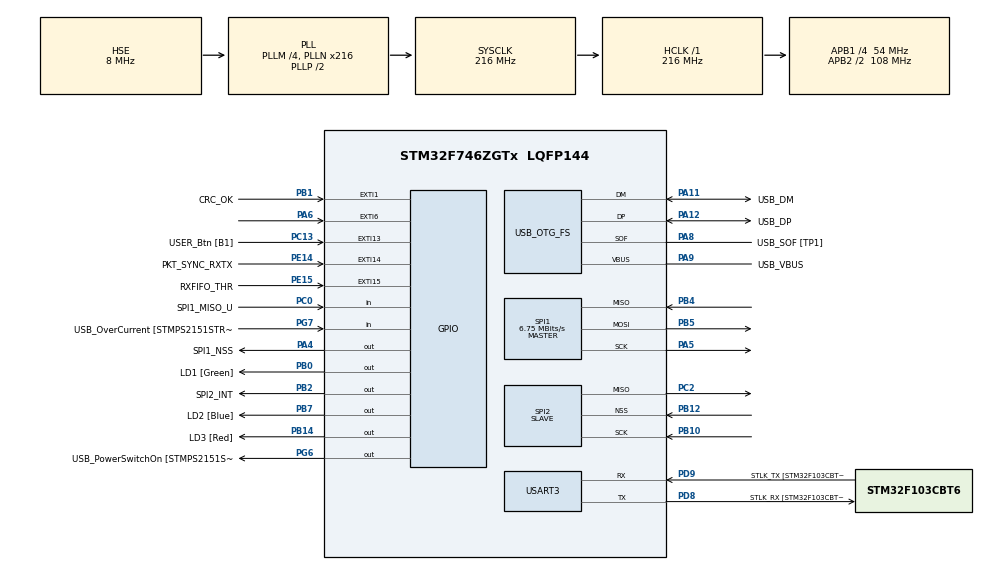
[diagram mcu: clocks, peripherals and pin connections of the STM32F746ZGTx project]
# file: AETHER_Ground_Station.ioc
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CORTEX_M7.default_mode_Activation=1
CRC.DefaultPolynomialUse=DEFAULT_POLYNOMIAL_ENABLE
CRC.InputDataFormat=CRC_INPUTDATA_FORMAT_WORDS
Dma.Request0=SPI1_TX
Dma.Request1=SPI1_RX
Dma.Request2=SPI2_TX
Dma.SPI1_RX.1.Direction=DMA_PERIPH_TO_MEMORY
Dma.SPI1_RX.1.FIFOMode=DMA_FIFOMODE_DISABLE
Dma.SPI1_RX.1.Instance=DMA2_Stream0
Dma.SPI1_RX.1.MemDataAlignment=DMA_MDATAALIGN_BYTE
Dma.SPI1_RX.1.MemInc=DMA_MINC_ENABLE
Dma.SPI1_RX.1.Mode=DMA_NORMAL
Dma.SPI1_RX.1.PeriphDataAlignment=DMA_PDATAALIGN_BYTE
Dma.SPI1_RX.1.PeriphInc=DMA_PINC_DISABLE
Dma.SPI1_RX.1.Priority=DMA_PRIORITY_LOW
Dma.SPI1_TX.0.Direction=DMA_MEMORY_TO_PERIPH
Dma.SPI1_TX.0.FIFOMode=DMA_FIFOMODE_DISABLE
Dma.SPI1_TX.0.Instance=DMA2_Stream3
Dma.SPI1_TX.0.MemDataAlignment=DMA_MDATAALIGN_BYTE
Dma.SPI1_TX.0.MemInc=DMA_MINC_ENABLE
Dma.SPI1_TX.0.Mode=DMA_NORMAL
Dma.SPI1_TX.0.PeriphDataAlignment=DMA_PDATAALIGN_BYTE
Dma.SPI1_TX.0.PeriphInc=DMA_PINC_DISABLE
Dma.SPI1_TX.0.Priority=DMA_PRIORITY_LOW
Dma.SPI2_TX.2.Direction=DMA_MEMORY_TO_PERIPH
Dma.SPI2_TX.2.FIFOMode=DMA_FIFOMODE_DISABLE
Dma.SPI2_TX.2.Instance=DMA1_Stream4
Dma.SPI2_TX.2.MemDataAlignment=DMA_MDATAALIGN_BYTE
Dma.SPI2_TX.2.MemInc=DMA_MINC_ENABLE
Dma.SPI2_TX.2.Mode=DMA_NORMAL
Dma.SPI2_TX.2.PeriphDataAlignment=DMA_PDATAALIGN_BYTE
Dma.SPI2_TX.2.PeriphInc=DMA_PINC_DISABLE
Dma.SPI2_TX.2.Priority=DMA_PRIORITY_LOW
FREERTOS.Queues01=spiReceiveQueue,30,buffer_t*,0,Dynamic,NULL,NULL;crcQueue,30,buffer_t*,0,Dynamic,NULL,NULL;spiTransmitQueue,30,buffer_t*,0,Dynamic,NULL,NULL
FREERTOS.Tasks01=defaultTask,24,256,StartDefaultTask,Default,NULL,Dynamic,NULL,NULL;spiReceiveTask,47,256,SPIReceiveTask,Default,NULL,Dynamic,NULL,NULL;crcTask,25,256,CRCTask,Default,NULL,Dynamic,NULL,NULL;spiTransmitTask,25,256,SPITransmitTask,Default,NULL,Dynamic,NULL,NULL
Mcu.Family=STM32F7
Mcu.Name=STM32F746ZGTx
Mcu.Package=LQFP144
NVIC.DMA1_Stream4_IRQn=true\:5\:0\:false\:false\:true\:true\:false\:true\:true
NVIC.DMA2_Stream0_IRQn=true\:5\:0\:false\:false\:true\:true\:false\:true\:true
NVIC.DMA2_Stream3_IRQn=true\:5\:0\:false\:false\:true\:true\:false\:true\:true
NVIC.EXTI15_10_IRQn=true\:5\:0\:false\:false\:true\:true\:true\:true\:true
NVIC.EXTI1_IRQn=true\:5\:0\:false\:false\:true\:true\:true\:true\:true
NVIC.EXTI9_5_IRQn=true\:5\:0\:false\:false\:true\:true\:true\:true\:true
NVIC.PriorityGroup=NVIC_PRIORITYGROUP_4
NVIC.SPI1_IRQn=true\:5\:0\:false\:false\:true\:true\:true\:true\:true
NVIC.TIM1_UP_TIM10_IRQn=true\:5\:0\:false\:false\:true\:false\:false\:true\:true
NVIC.TimeBase=TIM1_UP_TIM10_IRQn
NVIC.TimeBaseIP=TIM1
PA1.GPIO_Label=RMII_REF_CLK [LAN8742A-CZ-TR_REFCLK0]
PA1.Signal=ETH_REF_CLK
PA10.GPIO_Label=USB_ID
PA10.Signal=USB_OTG_FS_ID
PA11.GPIO_Label=USB_DM
PA11.Mode=Device_Only
PA11.Signal=USB_OTG_FS_DM
PA12.GPIO_Label=USB_DP
PA12.Mode=Device_Only
PA12.Signal=USB_OTG_FS_DP
PA13.GPIO_Label=TMS
PA13.Mode=Serial_Wire
PA13.Signal=SYS_JTMS-SWDIO
PA14.GPIO_Label=TCK
PA14.Mode=Serial_Wire
PA14.Signal=SYS_JTCK-SWCLK
PA2.GPIO_Label=RMII_MDIO [LAN8742A-CZ-TR_MDIO]
PA2.Signal=ETH_MDIO
PA4.GPIO_Label=SPI1_NSS
PA4.PinState=GPIO_PIN_SET
PA4.Signal=GPIO_Output
PA5.Mode=Full_Duplex_Master
PA5.Signal=SPI1_SCK
PA6.Signal=GPXTI6
PA7.GPIO_Label=RMII_CRS_DV [LAN8742A-CZ-TR_CRS_DV]
PA7.Signal=ETH_CRS_DV
PA8.GPIO_Label=USB_SOF [TP1]
PA8.Mode=Activate_SOF_FS
PA8.Signal=USB_OTG_FS_SOF
PA9.GPIO_Label=USB_VBUS
PA9.Mode=Activate_VBUS
PA9.Signal=USB_OTG_FS_VBUS
PB0.GPIO_Label=LD1 [Green]
PB0.Signal=GPIO_Output
PB1.GPIO_Label=CRC_OK
PB1.GPIO_ModeDefaultEXTI=GPIO_MODE_IT_RISING
PB1.Signal=GPXTI1
PB10.Mode=TX_Only_Simplex_Unidirect_Slave
PB10.Signal=SPI2_SCK
PB12.Mode=NSS_Signal_Hard_Input
PB12.Signal=SPI2_NSS
PB13.GPIO_Label=RMII_TXD1 [LAN8742A-CZ-TR_TXD1]
PB13.Signal=ETH_TXD1
PB14.GPIO_Label=LD3 [Red]
PB14.Signal=GPIO_Output
PB2.GPIO_Label=SPI2_INT
PB2.Signal=GPIO_Output
PB3.GPIO_Label=SW0
PB3.Signal=SYS_JTDO-SWO
PB4.Mode=Full_Duplex_Master
PB4.Signal=SPI1_MISO
PB5.Mode=Full_Duplex_Master
PB5.Signal=SPI1_MOSI
PB7.GPIO_Label=LD2 [Blue]
PB7.Signal=GPIO_Output
PB8.Signal=I2C1_SCL
PB9.Signal=I2C1_SDA
PC0.GPIO_Label=SPI1_MISO_U
PC0.GPIO_PuPd=GPIO_PULLDOWN
PC0.Signal=GPIO_Input
PC13.GPIO_Label=USER_Btn [B1]
PC13.Signal=GPXTI13
PC14/OSC32_IN.Mode=LSE-External-Oscillator
PC14/OSC32_IN.Signal=RCC_OSC32_IN
PC15/OSC32_OUT.Mode=LSE-External-Oscillator
PC15/OSC32_OUT.Signal=RCC_OSC32_OUT
PC2.Mode=TX_Only_Simplex_Unidirect_Slave
PC2.Signal=SPI2_MISO
PC4.GPIO_Label=RMII_RXD0 [LAN8742A-CZ-TR_RXD0]
PC4.Signal=ETH_RXD0
PC5.GPIO_Label=RMII_RXD1 [LAN8742A-CZ-TR_RXD1]
PC5.Signal=ETH_RXD1
PD8.GPIO_Label=STLK_RX [STM32F103CBT6_PA3]
PD8.GPIO_PuPd=GPIO_PULLUP
PD8.Mode=Asynchronous
PD8.Signal=USART3_TX
PD9.GPIO_Label=STLK_TX [STM32F103CBT6_PA2]
PD9.GPIO_PuPd=GPIO_PULLUP
PD9.Mode=Asynchronous
PD9.Signal=USART3_RX
PE14.GPIO_Label=PKT_SYNC_RXTX
PE14.GPIO_ModeDefaultEXTI=GPIO_MODE_IT_RISING_FALLING
PE14.Signal=GPXTI14
PE15.GPIO_Label=RXFIFO_THR
PE15.Signal=GPXTI15
PG11.GPIO_Label=RMII_TX_EN [LAN8742A-CZ-TR_TXEN]
PG11.Signal=ETH_TX_EN
PG13.GPIO_Label=RMII_TXD0 [LAN8742A-CZ-TR_TXD0]
PG13.Signal=ETH_TXD0
PG6.GPIO_Label=USB_PowerSwitchOn [STMPS2151STR_EN]
PG6.Signal=GPIO_Output
PG7.GPIO_Label=USB_OverCurrent [STMPS2151STR_FAULT]
PG7.Signal=GPIO_Input
PH0/OSC_IN.GPIO_Label=MCO [STM32F103CBT6_PA8]
PH0/OSC_IN.Mode=HSE-External-Clock-Source
PH0/OSC_IN.Signal=RCC_OSC_IN
PH1/OSC_OUT.Mode=HSE-External-Clock-Source
PH1/OSC_OUT.Signal=RCC_OSC_OUT
ProjectManager.HeapSize=0x200
ProjectManager.StackSize=0x400
ProjectManager.TargetToolchain=CMake
RCC.48MHZClocksFreq_Value=24000000
RCC.AHBFreq_Value=216000000
RCC.APB1CLKDivider=RCC_HCLK_DIV4
RCC.APB1Freq_Value=54000000
RCC.APB1TimFreq_Value=108000000
RCC.APB2CLKDivider=RCC_HCLK_DIV2
RCC.APB2Freq_Value=108000000
RCC.APB2TimFreq_Value=216000000
RCC.CortexFreq_Value=216000000
RCC.HCLKFreq_Value=216000000
RCC.HSE_VALUE=8000000
RCC.HSI_VALUE=16000000
RCC.PLLM=4
RCC.PLLMUL=RCC_PLL_MUL9
RCC.PLLN=216
RCC.PLLQ=9
RCC.PRESCALERUSB=RCC_USBCLKSOURCE_PLL_DIV1_5
RCC.SYSCLKFreq_VALUE=216000000
RCC.SYSCLKSource=RCC_SYSCLKSOURCE_PLLCLK
RCC.SYSCLKSourceVirtual=RCC_SYSCLKSOURCE_PLLCLK
RCC.USBFreq_Value=48000000
RCC.VCOOutputFreq_Value=432000000
SPI1.BaudRatePrescaler=SPI_BAUDRATEPRESCALER_16
SPI1.CalculateBaudRate=6.75 MBits/s
SPI1.DataSize=SPI_DATASIZE_8BIT
SPI1.Direction=SPI_DIRECTION_2LINES
SPI1.Mode=SPI_MODE_MASTER
SPI1.NSSPMode=SPI_NSS_PULSE_DISABLE
SPI1.VirtualType=VM_MASTER
SPI2.DataSize=SPI_DATASIZE_8BIT
SPI2.Direction=SPI_DIRECTION_2LINES
SPI2.Mode=SPI_MODE_SLAVE
SPI2.VirtualNSS=VM_NSSHARD
SPI2.VirtualType=VM_SLAVE
USART3.VirtualMode-Asynchronous=VM_ASYNC
USB_OTG_FS.VirtualMode=Device_Only
VP_CRC_VS_CRC.Mode=CRC_Activate
VP_FREERTOS_VS_CMSIS_V2.Mode=CMSIS_V2
VP_SYS_VS_tim1.Mode=TIM1
board=NUCLEO-F746ZG

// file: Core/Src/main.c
/* USER CODE BEGIN Header */
/**
  ******************************************************************************
  * @file           : main.c
  * @brief          : Main program body
  ******************************************************************************
  * @attention
  *
  * Copyright (c) 2026 STMicroelectronics.
  * All rights reserved.
  *
  * This software is licensed under terms that can be found in the LICENSE file
  * in the root directory of this software component.
  * If no LICENSE file comes with this software, it is provided AS-IS.
  *
  ******************************************************************************
  */
/* USER CODE END Header */
#include "main.h"
#include "cmsis_os.h"

/* USER CODE BEGIN Includes */
#include "CC1200.h"
#include "cmsis_os2.h"
#include "stm32f746xx.h"
#include "stm32f7xx_hal.h"
#include "stm32f7xx_hal_spi.h"
#include <stdint.h>
/* USER CODE END Includes */

/* USER CODE BEGIN PTD */
typedef enum {
  Camera_Data,
  Sensor_Data
} Buffer_Type;

#define BUFFER_SIZE 1024

typedef struct {
  uint8_t buffer[BUFFER_SIZE]; // Data buffer
} buffer_t;

/* USER CODE END PTD */

/* USER CODE BEGIN PD */
#define DATA_BUFFER_COUNT 30

// spiReceiveTask flags
#define SPI_RXTX_CPLT_FLG     0x00000001U
#define PKT_SYNC_RXTX_RE_FLG  0x00000002U
#define PKT_SYNC_RXTX_FE_FLG  0x00000004U
#define RX_FIFO_THR_RE_FLG    0x00000008U
#define TX_FIFO_THR_FE_FLG    0x00000010U

// spiTransmitTask flags
#define SPI_TX_CPLT_FLG       0x00000001U

/* USER CODE END PD */

CRC_HandleTypeDef hcrc;

SPI_HandleTypeDef hspi1;
SPI_HandleTypeDef hspi2;
DMA_HandleTypeDef hdma_spi1_tx;
DMA_HandleTypeDef hdma_spi1_rx;
DMA_HandleTypeDef hdma_spi2_tx;

UART_HandleTypeDef huart3;

PCD_HandleTypeDef hpcd_USB_OTG_FS;

/* Definitions for defaultTask */
osThreadId_t defaultTaskHandle;
const osThreadAttr_t defaultTask_attributes = {
  .name = "defaultTask",
  .stack_size = 256 * 4,
  .priority = (osPriority_t) osPriorityNormal,
};
/* Definitions for spiReceiveTask */
osThreadId_t spiReceiveTaskHandle;
const osThreadAttr_t spiReceiveTask_attributes = {
  .name = "spiReceiveTask",
  .stack_size = 256 * 4,
  .priority = (osPriority_t) osPriorityHigh7,
};
/* Definitions for crcTask */
osThreadId_t crcTaskHandle;
const osThreadAttr_t crcTask_attributes = {
  .name = "crcTask",
  .stack_size = 256 * 4,
  .priority = (osPriority_t) osPriorityNormal1,
};
/* Definitions for spiTransmitTask */
osThreadId_t spiTransmitTaskHandle;
const osThreadAttr_t spiTransmitTask_attributes = {
  .name = "spiTransmitTask",
  .stack_size = 256 * 4,
  .priority = (osPriority_t) osPriorityNormal1,
};
/* Definitions for spiReceiveQueue */
osMessageQueueId_t spiReceiveQueueHandle;
const osMessageQueueAttr_t spiReceiveQueue_attributes = {
  .name = "spiReceiveQueue"
};
/* Definitions for crcQueue */
osMessageQueueId_t crcQueueHandle;
const osMessageQueueAttr_t crcQueue_attributes = {
  .name = "crcQueue"
};
/* Definitions for spiTransmitQueue */
osMessageQueueId_t spiTransmitQueueHandle;
const osMessageQueueAttr_t spiTransmitQueue_attributes = {
  .name = "spiTransmitQueue"
};
/* USER CODE BEGIN PV */
volatile uint32_t count, count2, count3, count4, count5, count6, count7 = 0;
volatile uint32_t getSPI1, putSPI1, getCRC, putCRC, getSPI2, putSPI2 = 0;

static buffer_t *currentReceiveBuffer = NULL;
static buffer_t *nextReceiveBuffer = NULL;
static buffer_t *currentCRCBuffer = NULL;
static buffer_t *currentTransmitBuffer = NULL;

static buffer_t dataBuffers[DATA_BUFFER_COUNT];

/* USER CODE END PV */

void SystemClock_Config(void);
static void MPU_Config(void);
static void MX_GPIO_Init(void);
static void MX_DMA_Init(void);
static void MX_CRC_Init(void);
static void MX_SPI1_Init(void);
static void MX_SPI2_Init(void);
static void MX_USART3_UART_Init(void);
static void MX_USB_OTG_FS_PCD_Init(void);
void StartDefaultTask(void *argument);
void SPIReceiveTask(void *argument);
void CRCTask(void *argument);
void SPITransmitTask(void *argument);

/* USER CODE BEGIN PFP */
uint32_t Calculate_CRC(uint8_t *data, uint16_t length);
/* USER CODE END PFP */

int main(void)
{

  /* MPU Configuration--------------------------------------------------------*/
  MPU_Config();

  /* MCU Configuration--------------------------------------------------------*/

  /* Reset of all peripherals, Initializes the Flash interface and the Systick. */
  HAL_Init();

  /* Configure the system clock */
  SystemClock_Config();

  /* Initialize all configured peripherals */
  MX_GPIO_Init();
  MX_DMA_Init();
  MX_CRC_Init();
  MX_SPI1_Init();
  MX_SPI2_Init();
  MX_USART3_UART_Init();
  MX_USB_OTG_FS_PCD_Init();

  /* Init scheduler */
  osKernelInitialize();

  /* Create the queue(s) */
  /* creation of spiReceiveQueue */
  spiReceiveQueueHandle = osMessageQueueNew (30, sizeof(buffer_t*), &spiReceiveQueue_attributes);

  /* creation of crcQueue */
  crcQueueHandle = osMessageQueueNew (30, sizeof(buffer_t*), &crcQueue_attributes);

  /* creation of spiTransmitQueue */
  spiTransmitQueueHandle = osMessageQueueNew (30, sizeof(buffer_t*), &spiTransmitQueue_attributes);

  /* USER CODE BEGIN RTOS_QUEUES */
  /* add queues, ... */
  for (int i = 0; i < DATA_BUFFER_COUNT; i++) {
    buffer_t *ptr = &dataBuffers[i];
    osMessageQueuePut(spiReceiveQueueHandle, &ptr, 0, 0);
  }
  /* USER CODE END RTOS_QUEUES */

  /* Create the thread(s) */
  /* creation of defaultTask */
  defaultTaskHandle = osThreadNew(StartDefaultTask, NULL, &defaultTask_attributes);

  /* creation of spiReceiveTask */
  spiReceiveTaskHandle = osThreadNew(SPIReceiveTask, NULL, &spiReceiveTask_attributes);

  /* creation of crcTask */
  crcTaskHandle = osThreadNew(CRCTask, NULL, &crcTask_attributes);

  /* creation of spiTransmitTask */
  spiTransmitTaskHandle = osThreadNew(SPITransmitTask, NULL, &spiTransmitTask_attributes);

  /* Start scheduler */
  osKernelStart();

  /* We should never get here as control is now taken by the scheduler */

  /* Infinite loop */
  while (1)
  {

  }
}

void SystemClock_Config(void)
{
  RCC_OscInitTypeDef RCC_OscInitStruct = {0};
  RCC_ClkInitTypeDef RCC_ClkInitStruct = {0};

  /** Configure LSE Drive Capability
  */
  HAL_PWR_EnableBkUpAccess();

  /** Configure the main internal regulator output voltage
  */
  __HAL_RCC_PWR_CLK_ENABLE();
  __HAL_PWR_VOLTAGESCALING_CONFIG(PWR_REGULATOR_VOLTAGE_SCALE1);

  /** Initializes the RCC Oscillators according to the specified parameters
  * in the RCC_OscInitTypeDef structure.
  */
  RCC_OscInitStruct.OscillatorType = RCC_OSCILLATORTYPE_HSE;
  RCC_OscInitStruct.HSEState = RCC_HSE_BYPASS;
  RCC_OscInitStruct.PLL.PLLState = RCC_PLL_ON;
  RCC_OscInitStruct.PLL.PLLSource = RCC_PLLSOURCE_HSE;
  RCC_OscInitStruct.PLL.PLLM = 4;
  RCC_OscInitStruct.PLL.PLLN = 216;
  RCC_OscInitStruct.PLL.PLLP = RCC_PLLP_DIV2;
  RCC_OscInitStruct.PLL.PLLQ = 9;
  if (HAL_RCC_OscConfig(&RCC_OscInitStruct) != HAL_OK)
  {
    Error_Handler();
  }

  /** Activate the Over-Drive mode
  */
  if (HAL_PWREx_EnableOverDrive() != HAL_OK)
  {
    Error_Handler();
  }

  /** Initializes the CPU, AHB and APB buses clocks
  */
  RCC_ClkInitStruct.ClockType = RCC_CLOCKTYPE_HCLK|RCC_CLOCKTYPE_SYSCLK
                              |RCC_CLOCKTYPE_PCLK1|RCC_CLOCKTYPE_PCLK2;
  RCC_ClkInitStruct.SYSCLKSource = RCC_SYSCLKSOURCE_PLLCLK;
  RCC_ClkInitStruct.AHBCLKDivider = RCC_SYSCLK_DIV1;
  RCC_ClkInitStruct.APB1CLKDivider = RCC_HCLK_DIV4;
  RCC_ClkInitStruct.APB2CLKDivider = RCC_HCLK_DIV2;

  if (HAL_RCC_ClockConfig(&RCC_ClkInitStruct, FLASH_LATENCY_7) != HAL_OK)
  {
    Error_Handler();
  }
}

static void MX_CRC_Init(void)
{

  hcrc.Instance = CRC;
  hcrc.Init.DefaultPolynomialUse = DEFAULT_POLYNOMIAL_ENABLE;
  hcrc.Init.DefaultInitValueUse = DEFAULT_INIT_VALUE_ENABLE;
  hcrc.Init.InputDataInversionMode = CRC_INPUTDATA_INVERSION_NONE;
  hcrc.Init.OutputDataInversionMode = CRC_OUTPUTDATA_INVERSION_DISABLE;
  hcrc.InputDataFormat = CRC_INPUTDATA_FORMAT_WORDS;
  if (HAL_CRC_Init(&hcrc) != HAL_OK)
  {
    Error_Handler();
  }

}

static void MX_SPI1_Init(void)
{

  /* SPI1 parameter configuration*/
  hspi1.Instance = SPI1;
  hspi1.Init.Mode = SPI_MODE_MASTER;
  hspi1.Init.Direction = SPI_DIRECTION_2LINES;
  hspi1.Init.DataSize = SPI_DATASIZE_8BIT;
  hspi1.Init.CLKPolarity = SPI_POLARITY_LOW;
  hspi1.Init.CLKPhase = SPI_PHASE_1EDGE;
  hspi1.Init.NSS = SPI_NSS_SOFT;
  hspi1.Init.BaudRatePrescaler = SPI_BAUDRATEPRESCALER_16;
  hspi1.Init.FirstBit = SPI_FIRSTBIT_MSB;
  hspi1.Init.TIMode = SPI_TIMODE_DISABLE;
  hspi1.Init.CRCCalculation = SPI_CRCCALCULATION_DISABLE;
  hspi1.Init.CRCPolynomial = 7;
  hspi1.Init.CRCLength = SPI_CRC_LENGTH_DATASIZE;
  hspi1.Init.NSSPMode = SPI_NSS_PULSE_DISABLE;
  if (HAL_SPI_Init(&hspi1) != HAL_OK)
  {
    Error_Handler();
  }

}

static void MX_SPI2_Init(void)
{

  /* SPI2 parameter configuration*/
  hspi2.Instance = SPI2;
  hspi2.Init.Mode = SPI_MODE_SLAVE;
  hspi2.Init.Direction = SPI_DIRECTION_2LINES;
  hspi2.Init.DataSize = SPI_DATASIZE_8BIT;
  hspi2.Init.CLKPolarity = SPI_POLARITY_LOW;
  hspi2.Init.CLKPhase = SPI_PHASE_1EDGE;
  hspi2.Init.NSS = SPI_NSS_HARD_INPUT;
  hspi2.Init.FirstBit = SPI_FIRSTBIT_MSB;
  hspi2.Init.TIMode = SPI_TIMODE_DISABLE;
  hspi2.Init.CRCCalculation = SPI_CRCCALCULATION_DISABLE;
  hspi2.Init.CRCPolynomial = 7;
  hspi2.Init.CRCLength = SPI_CRC_LENGTH_DATASIZE;
  hspi2.Init.NSSPMode = SPI_NSS_PULSE_DISABLE;
  if (HAL_SPI_Init(&hspi2) != HAL_OK)
  {
    Error_Handler();
  }

}

static void MX_USART3_UART_Init(void)
{

  huart3.Instance = USART3;
  huart3.Init.BaudRate = 115200;
  huart3.Init.WordLength = UART_WORDLENGTH_8B;
  huart3.Init.StopBits = UART_STOPBITS_1;
  huart3.Init.Parity = UART_PARITY_NONE;
  huart3.Init.Mode = UART_MODE_TX_RX;
  huart3.Init.HwFlowCtl = UART_HWCONTROL_NONE;
  huart3.Init.OverSampling = UART_OVERSAMPLING_16;
  huart3.Init.OneBitSampling = UART_ONE_BIT_SAMPLE_DISABLE;
  huart3.AdvancedInit.AdvFeatureInit = UART_ADVFEATURE_NO_INIT;
  if (HAL_UART_Init(&huart3) != HAL_OK)
  {
    Error_Handler();
  }

}

static void MX_USB_OTG_FS_PCD_Init(void)
{

  hpcd_USB_OTG_FS.Instance = USB_OTG_FS;
  hpcd_USB_OTG_FS.Init.dev_endpoints = 6;
  hpcd_USB_OTG_FS.Init.speed = PCD_SPEED_FULL;
  hpcd_USB_OTG_FS.Init.dma_enable = DISABLE;
  hpcd_USB_OTG_FS.Init.phy_itface = PCD_PHY_EMBEDDED;
  hpcd_USB_OTG_FS.Init.Sof_enable = ENABLE;
  hpcd_USB_OTG_FS.Init.low_power_enable = DISABLE;
  hpcd_USB_OTG_FS.Init.lpm_enable = DISABLE;
  hpcd_USB_OTG_FS.Init.vbus_sensing_enable = ENABLE;
  hpcd_USB_OTG_FS.Init.use_dedicated_ep1 = DISABLE;
  if (HAL_PCD_Init(&hpcd_USB_OTG_FS) != HAL_OK)
  {
    Error_Handler();
  }

}

static void MX_DMA_Init(void)
{

  /* DMA controller clock enable */
  __HAL_RCC_DMA2_CLK_ENABLE();
  __HAL_RCC_DMA1_CLK_ENABLE();

  /* DMA interrupt init */
  /* DMA1_Stream4_IRQn interrupt configuration */
  HAL_NVIC_SetPriority(DMA1_Stream4_IRQn, 5, 0);
  HAL_NVIC_EnableIRQ(DMA1_Stream4_IRQn);
  /* DMA2_Stream0_IRQn interrupt configuration */
  HAL_NVIC_SetPriority(DMA2_Stream0_IRQn, 5, 0);
  HAL_NVIC_EnableIRQ(DMA2_Stream0_IRQn);
  /* DMA2_Stream3_IRQn interrupt configuration */
  HAL_NVIC_SetPriority(DMA2_Stream3_IRQn, 5, 0);
  HAL_NVIC_EnableIRQ(DMA2_Stream3_IRQn);

}

static void MX_GPIO_Init(void)
{
  GPIO_InitTypeDef GPIO_InitStruct = {0};

  /* GPIO Ports Clock Enable */
  __HAL_RCC_GPIOC_CLK_ENABLE();
  __HAL_RCC_GPIOH_CLK_ENABLE();
  __HAL_RCC_GPIOA_CLK_ENABLE();
  __HAL_RCC_GPIOB_CLK_ENABLE();
  __HAL_RCC_GPIOE_CLK_ENABLE();
  __HAL_RCC_GPIOD_CLK_ENABLE();
  __HAL_RCC_GPIOG_CLK_ENABLE();

  /*Configure GPIO pin Output Level */
  HAL_GPIO_WritePin(SPI1_NSS_GPIO_Port, SPI1_NSS_Pin, GPIO_PIN_SET);

  /*Configure GPIO pin Output Level */
  HAL_GPIO_WritePin(GPIOB, LD1_Pin|SPI2_INT_Pin|LD3_Pin|LD2_Pin, GPIO_PIN_RESET);

  /*Configure GPIO pin Output Level */
  HAL_GPIO_WritePin(USB_PowerSwitchOn_GPIO_Port, USB_PowerSwitchOn_Pin, GPIO_PIN_RESET);

  /*Configure GPIO pin : USER_Btn_Pin */
  GPIO_InitStruct.Pin = USER_Btn_Pin;
  GPIO_InitStruct.Mode = GPIO_MODE_IT_RISING;
  GPIO_InitStruct.Pull = GPIO_NOPULL;
  HAL_GPIO_Init(USER_Btn_GPIO_Port, &GPIO_InitStruct);

  /*Configure GPIO pin : SPI1_MISO_U_Pin */
  GPIO_InitStruct.Pin = SPI1_MISO_U_Pin;
  GPIO_InitStruct.Mode = GPIO_MODE_INPUT;
  GPIO_InitStruct.Pull = GPIO_PULLDOWN;
  HAL_GPIO_Init(SPI1_MISO_U_GPIO_Port, &GPIO_InitStruct);

  /*Configure GPIO pins : RMII_REF_CLK_Pin RMII_MDIO_Pin RMII_CRS_DV_Pin */
  GPIO_InitStruct.Pin = RMII_REF_CLK_Pin|RMII_MDIO_Pin|RMII_CRS_DV_Pin;
  GPIO_InitStruct.Mode = GPIO_MODE_AF_PP;
  GPIO_InitStruct.Pull = GPIO_NOPULL;
  GPIO_InitStruct.Speed = GPIO_SPEED_FREQ_HIGH;
  GPIO_InitStruct.Alternate = GPIO_AF11_ETH;
  HAL_GPIO_Init(GPIOA, &GPIO_InitStruct);

  /*Configure GPIO pin : SPI1_NSS_Pin */
  GPIO_InitStruct.Pin = SPI1_NSS_Pin;
  GPIO_InitStruct.Mode = GPIO_MODE_OUTPUT_PP;
  GPIO_InitStruct.Pull = GPIO_NOPULL;
  GPIO_InitStruct.Speed = GPIO_SPEED_FREQ_LOW;
  HAL_GPIO_Init(SPI1_NSS_GPIO_Port, &GPIO_InitStruct);

  /*Configure GPIO pin : PA6 */
  GPIO_InitStruct.Pin = GPIO_PIN_6;
  GPIO_InitStruct.Mode = GPIO_MODE_IT_RISING;
  GPIO_InitStruct.Pull = GPIO_NOPULL;
  HAL_GPIO_Init(GPIOA, &GPIO_InitStruct);

  /*Configure GPIO pins : RMII_RXD0_Pin RMII_RXD1_Pin */
  GPIO_InitStruct.Pin = RMII_RXD0_Pin|RMII_RXD1_Pin;
  GPIO_InitStruct.Mode = GPIO_MODE_AF_PP;
  GPIO_InitStruct.Pull = GPIO_NOPULL;
  GPIO_InitStruct.Speed = GPIO_SPEED_FREQ_HIGH;
  GPIO_InitStruct.Alternate = GPIO_AF11_ETH;
  HAL_GPIO_Init(GPIOC, &GPIO_InitStruct);

  /*Configure GPIO pins : LD1_Pin SPI2_INT_Pin LD3_Pin LD2_Pin */
  GPIO_InitStruct.Pin = LD1_Pin|SPI2_INT_Pin|LD3_Pin|LD2_Pin;
  GPIO_InitStruct.Mode = GPIO_MODE_OUTPUT_PP;
  GPIO_InitStruct.Pull = GPIO_NOPULL;
  GPIO_InitStruct.Speed = GPIO_SPEED_FREQ_LOW;
  HAL_GPIO_Init(GPIOB, &GPIO_InitStruct);

  /*Configure GPIO pin : CRC_OK_Pin */
  GPIO_InitStruct.Pin = CRC_OK_Pin;
  GPIO_InitStruct.Mode = GPIO_MODE_IT_RISING;
  GPIO_InitStruct.Pull = GPIO_NOPULL;
  HAL_GPIO_Init(CRC_OK_GPIO_Port, &GPIO_InitStruct);

  /*Configure GPIO pin : PKT_SYNC_RXTX_Pin */
  GPIO_InitStruct.Pin = PKT_SYNC_RXTX_Pin;
  GPIO_InitStruct.Mode = GPIO_MODE_IT_RISING_FALLING;
  GPIO_InitStruct.Pull = GPIO_NOPULL;
  HAL_GPIO_Init(PKT_SYNC_RXTX_GPIO_Port, &GPIO_InitStruct);

  /*Configure GPIO pin : RXFIFO_THR_Pin */
  GPIO_InitStruct.Pin = RXFIFO_THR_Pin;
  GPIO_InitStruct.Mode = GPIO_MODE_IT_RISING;
  GPIO_InitStruct.Pull = GPIO_NOPULL;
  HAL_GPIO_Init(RXFIFO_THR_GPIO_Port, &GPIO_InitStruct);

  /*Configure GPIO pin : RMII_TXD1_Pin */
  GPIO_InitStruct.Pin = RMII_TXD1_Pin;
  GPIO_InitStruct.Mode = GPIO_MODE_AF_PP;
  GPIO_InitStruct.Pull = GPIO_NOPULL;
  GPIO_InitStruct.Speed = GPIO_SPEED_FREQ_HIGH;
  GPIO_InitStruct.Alternate = GPIO_AF11_ETH;
  HAL_GPIO_Init(RMII_TXD1_GPIO_Port, &GPIO_InitStruct);

  /*Configure GPIO pin : USB_PowerSwitchOn_Pin */
  GPIO_InitStruct.Pin = USB_PowerSwitchOn_Pin;
  GPIO_InitStruct.Mode = GPIO_MODE_OUTPUT_PP;
  GPIO_InitStruct.Pull = GPIO_NOPULL;
  GPIO_InitStruct.Speed = GPIO_SPEED_FREQ_LOW;
  HAL_GPIO_Init(USB_PowerSwitchOn_GPIO_Port, &GPIO_InitStruct);

  /*Configure GPIO pin : USB_OverCurrent_Pin */
  GPIO_InitStruct.Pin = USB_OverCurrent_Pin;
  GPIO_InitStruct.Mode = GPIO_MODE_INPUT;
  GPIO_InitStruct.Pull = GPIO_NOPULL;
  HAL_GPIO_Init(USB_OverCurrent_GPIO_Port, &GPIO_InitStruct);

  /*Configure GPIO pins : RMII_TX_EN_Pin RMII_TXD0_Pin */
  GPIO_InitStruct.Pin = RMII_TX_EN_Pin|RMII_TXD0_Pin;
  GPIO_InitStruct.Mode = GPIO_MODE_AF_PP;
  GPIO_InitStruct.Pull = GPIO_NOPULL;
  GPIO_InitStruct.Speed = GPIO_SPEED_FREQ_HIGH;
  GPIO_InitStruct.Alternate = GPIO_AF11_ETH;
  HAL_GPIO_Init(GPIOG, &GPIO_InitStruct);

  /*Configure GPIO pins : PB8 PB9 */
  GPIO_InitStruct.Pin = GPIO_PIN_8|GPIO_PIN_9;
  GPIO_InitStruct.Mode = GPIO_MODE_AF_OD;
  GPIO_InitStruct.Pull = GPIO_NOPULL;
  GPIO_InitStruct.Speed = GPIO_SPEED_FREQ_VERY_HIGH;
  GPIO_InitStruct.Alternate = GPIO_AF4_I2C1;
  HAL_GPIO_Init(GPIOB, &GPIO_InitStruct);

  /* EXTI interrupt init*/
  HAL_NVIC_SetPriority(EXTI1_IRQn, 5, 0);
  HAL_NVIC_EnableIRQ(EXTI1_IRQn);

  HAL_NVIC_SetPriority(EXTI9_5_IRQn, 5, 0);
  HAL_NVIC_EnableIRQ(EXTI9_5_IRQn);

  HAL_NVIC_SetPriority(EXTI15_10_IRQn, 5, 0);
  HAL_NVIC_EnableIRQ(EXTI15_10_IRQn);

}

/* USER CODE BEGIN 4 */

/**
  * @brief  SPI transmit receive complete callback.
  * @param  hspi: SPI handle
  * @retval None
  */
void HAL_SPI_TxRxCpltCallback(SPI_HandleTypeDef *hspi){
  if (hspi->Instance == SPI1) {
    // Send flag to spiReceiveTask indicating that the SPI1 transaction is complete (SPI_RXTX_CPLT_FLG)
    osThreadFlagsSet(spiReceiveTaskHandle, SPI_RXTX_CPLT_FLG);
  }
}

/**
  * @brief  SPI transmit complete callback.
  * @param  hspi: SPI handle
  * @retval None
  */
void HAL_SPI_TxCpltCallback(SPI_HandleTypeDef *hspi){
  if (hspi->Instance == SPI2) {
    // Send flag to spiTransmitTask indicating that the SPI2 transmission is complete (SPI_TX_CPLT_FLG)
    osThreadFlagsSet(spiTransmitTaskHandle, SPI_TX_CPLT_FLG);
  }
}

/**
  * @brief  GPIO EXTI callback.
  * @param  GPIO_Pin: GPIO pin
  * @retval None
  */
void HAL_GPIO_EXTI_Callback(uint16_t GPIO_Pin){
  if (GPIO_Pin == RXFIFO_THR_Pin) {
    // Send flag to spiReceiveTask indicating that the RX FIFO threshold has been reached (RX_FIFO_THR_RE_FLG)
    osThreadFlagsSet(spiReceiveTaskHandle, RX_FIFO_THR_RE_FLG);
  } else if (GPIO_Pin == PKT_SYNC_RXTX_Pin) {
    if (HAL_GPIO_ReadPin(PKT_SYNC_RXTX_GPIO_Port, PKT_SYNC_RXTX_Pin) == GPIO_PIN_SET) {
      // Send flag to spiReceiveTask indicating that the PKT_SYNC_RXTX pin has changed state to HIGH (PKT_SYNC_RXTX_RE_FLG)
      osThreadFlagsSet(spiReceiveTaskHandle, PKT_SYNC_RXTX_RE_FLG);
    } else {
      // Send flag to spiReceiveTask indicating that the PKT_SYNC_RXTX pin has changed state to LOW (PKT_SYNC_RXTX_FE_FLG)
      osThreadFlagsSet(spiReceiveTaskHandle, PKT_SYNC_RXTX_FE_FLG);
    }
  }
}

/**
  * @brief  Calculate CRC.
  * @param  data: Pointer to the data for which to calculate the CRC.
  * @param  length: Length of the data.
  * @retval None
  */
uint32_t Calculate_CRC(uint8_t *data, uint16_t length)
{
    uint32_t crc;
    uint32_t word;
    uint16_t i;

    __HAL_CRC_DR_RESET(&hcrc);

    for (i = 0; i < length; i += 4)
    {
        word = 0;

        word |= data[i] << 24;

        if (i + 1 < length) word |= data[i + 1] << 16;
        if (i + 2 < length) word |= data[i + 2] << 8;
        if (i + 3 < length) word |= data[i + 3];

        crc = HAL_CRC_Accumulate(&hcrc, &word, 1);
    }

    return crc;
}

/* USER CODE END 4 */

void StartDefaultTask(void *argument)
{
  /* USER CODE BEGIN 5 */
  /* Infinite loop */
  for(;;)
  {
    count = osMessageQueueGetCount(spiReceiveQueueHandle);
    count2 = osMessageQueueGetCount(crcQueueHandle);
    count3 = osMessageQueueGetCount(spiTransmitQueueHandle);
    osDelay(1000);
  }
  /* USER CODE END 5 */
}

void SPIReceiveTask(void *argument)
{
  /* USER CODE BEGIN SPIReceiveTask */

  CC1200_SetSPIHandle(&hspi1, SPI1_NSS_GPIO_Port, SPI1_NSS_Pin, SPI1_MISO_U_GPIO_Port, SPI1_MISO_U_Pin, SPI_RXTX_CPLT_FLG);

  CC1200_SetRXInterruptFlags(PKT_SYNC_RXTX_RE_FLG, PKT_SYNC_RXTX_FE_FLG, RX_FIFO_THR_RE_FLG);

  CC1200_Init();

  // Wait for two buffers to be available from the SPI transmit queue
  osMessageQueueGet(spiReceiveQueueHandle, &currentReceiveBuffer, NULL, osWaitForever);
  osMessageQueueGet(spiReceiveQueueHandle, &nextReceiveBuffer, NULL, osWaitForever);
  getSPI1 = getSPI1 + 1;
  count = osMessageQueueGetCount(spiReceiveQueueHandle);
  uint16_t currentStartOffset = 0;

  // Put CC1200 in RX Mode
  // CC1200_CommandStrobe(CC1200_SIDLE);
  // CC1200_CommandStrobe(CC1200_SFRX);
  // CC1200_CommandStrobe(CC1200_SRX);

  /* Infinite loop */
  for(;;){

    // CC1200_ReceiveHeader(&headerBuffer[0]);

    // if ((headerBuffer[1] + currentStartOffset + 2 > BUFFER_SIZE-1)) {
    //   currentReceiveBuffer->buffer[currentStartOffset] = 0;
    //   osMessageQueuePut(crcQueueHandle, &currentReceiveBuffer, 0, 0);
    //   putSPI1 = putSPI1 + 1;
    //   osMessageQueueGet(spiReceiveQueueHandle, &currentReceiveBuffer, NULL, osWaitForever);
    //   getSPI1 = getSPI1 + 1;
    //   currentStartOffset = 0;
    // }

    // currentReceiveBuffer->buffer[currentStartOffset] = headerBuffer[1];   // Packet Length
    // currentReceiveBuffer->buffer[currentStartOffset+1] = headerBuffer[2]; // ID
    // uint8_t payloadReceived = CC1200_ReceivePayload(currentReceiveBuffer->buffer + currentStartOffset + 2, headerBuffer[0]);
    // if(payloadReceived == 0){
    //   currentStartOffset += headerBuffer[0] + 2; // Payload (Packet Length + ID + DATA + CRC) + 2byte (CC1200 CRC RSSI)
    //   count4 += 1;
    //   CC1200_CommandStrobe(CC1200_SRX);
    // } else {
    //   count7 += 1;
    // }

    if(!CC1200_ReceivePacket(currentReceiveBuffer->buffer + currentStartOffset, (BUFFER_SIZE-1) - currentStartOffset, nextReceiveBuffer->buffer)){

      currentReceiveBuffer->buffer[currentStartOffset] = 0;
      osMessageQueuePut(crcQueueHandle, &currentReceiveBuffer, 0, 0);
      putSPI1 = putSPI1 + 1;

      currentReceiveBuffer = nextReceiveBuffer;

      osMessageQueueGet(spiReceiveQueueHandle, &nextReceiveBuffer, NULL, osWaitForever);
      getSPI1 = getSPI1 + 1;

      currentStartOffset = currentReceiveBuffer->buffer[0] + 2; // Payload Length (Packet Length + ID + DATA + CRC) + 2byte (CC1200 CRC RSSI)
    }
    else {
      currentStartOffset += (currentReceiveBuffer->buffer[currentStartOffset] + 2); // Payload Length (Packet Length + ID + DATA + CRC) + 2byte (CC1200 CRC RSSI)
      count4 += 1;
    }

  }
  /* USER CODE END SPIReceiveTask */
}

void CRCTask(void *argument)
{
  /* USER CODE BEGIN CRCTask */
  /* Infinite loop */
  for(;;)
  {
    // Wait for a buffer to be available from the CRC queue
    if (osMessageQueueGet(crcQueueHandle, &currentCRCBuffer, NULL, osWaitForever) == osOK) {
      getCRC = getCRC + 1;
      // Calculate CRC for the buffer
      count2 = osMessageQueueGetCount(crcQueueHandle);
      uint16_t currentStartOffset = 0;
      uint8_t lastPacketFlg = 0;
      for(;;){
        // The length of the data to be processed is the first byte of the buffer, so we read that byte to determine how many bytes to process
        uint8_t subPacketLength = currentCRCBuffer->buffer[currentStartOffset];

        // The last packet flag is determined by checking if the byte at the position of the length byte plus the length of the data is 0 (indicating that there are no more packets after this one)
        lastPacketFlg = currentCRCBuffer->buffer[currentStartOffset + currentCRCBuffer->buffer[currentStartOffset] + 2] == 0 ? 1 : 0;

        if (subPacketLength%4 != 0){
          goto skip_crc_calculation;
        }

        uint32_t calculated_crc = Calculate_CRC(currentCRCBuffer->buffer + currentStartOffset, subPacketLength - 4); // Exclude the last 4 bytes which are the received CRC

        uint32_t received_crc =
            (currentCRCBuffer->buffer[currentStartOffset + subPacketLength - 4] << 24) |
            (currentCRCBuffer->buffer[currentStartOffset + subPacketLength - 3] << 16) |
            (currentCRCBuffer->buffer[currentStartOffset + subPacketLength - 2] << 8)  |
            (currentCRCBuffer->buffer[currentStartOffset + subPacketLength - 1]);

        count6 = count6 + 1;

        if ((calculated_crc == received_crc) && lastPacketFlg == 1) {
          // CRC is correct, put the buffer into the SPI transmit queue
          osMessageQueuePut(spiTransmitQueueHandle, &currentCRCBuffer, 0, 0);
          putCRC = putCRC + 1;
          break;
        } else if (calculated_crc != received_crc) {
skip_crc_calculation:
          // CRC is incorrect, put the buffer back into the SPI receive queue to be reprocessed
          osMessageQueuePut(spiReceiveQueueHandle, &currentCRCBuffer, 0, 0);
          count5 = count5 + 1;
          break;
        }

        currentStartOffset += subPacketLength + 2; // Skip the 2 byte CRC and RSSI from the CC1200
      }
      currentCRCBuffer = NULL;
    }
  }
  /* USER CODE END CRCTask */
}

void SPITransmitTask(void *argument)
{
  /* USER CODE BEGIN SPITransmitTask */

  /* Infinite loop */
  for(;;)
  {
    // Wait for a buffer to be available from the SPI transmit queue
    if (osMessageQueueGet(spiTransmitQueueHandle, &currentTransmitBuffer, NULL, osWaitForever) == osOK) {
      getSPI2 = getSPI2 + 1;
      count3 = osMessageQueueGetCount(spiTransmitQueueHandle);

      // Transmit the buffer over SPI2 using DMA
      HAL_SPI_Transmit_DMA(&hspi2, currentTransmitBuffer->buffer, 1024);

      // Set the SPI2_INT_Pin to indicate to the receiving device that a new buffer is being transmitted
      HAL_GPIO_WritePin(SPI2_INT_GPIO_Port, SPI2_INT_Pin, GPIO_PIN_SET);

      // Wait for the transmission to complete by waiting for the flag set in the HAL_SPI_TxCpltCallback callback function
      osThreadFlagsWait(SPI_TX_CPLT_FLG, osFlagsWaitAny, osWaitForever);

      // Reset the SPI2_INT_Pin to indicate that the transmission is complete
      HAL_GPIO_WritePin(SPI2_INT_GPIO_Port, SPI2_INT_Pin, GPIO_PIN_RESET);

      // We can now put it back into the the SPI receive queue to be reused for receiving new data from the CC1200
      osMessageQueuePut(spiReceiveQueueHandle, &currentTransmitBuffer, 0, 0);
      putSPI2 = putSPI2 + 1;

      currentTransmitBuffer = NULL;
    }
  }
  /* USER CODE END SPITransmitTask */
}

 /* MPU Configuration */

void MPU_Config(void)
{
  MPU_Region_InitTypeDef MPU_InitStruct = {0};

  /* Disables the MPU */
  HAL_MPU_Disable();

  /** Initializes and configures the Region and the memory to be protected
  */
  MPU_InitStruct.Enable = MPU_REGION_ENABLE;
  MPU_InitStruct.Number = MPU_REGION_NUMBER0;
  MPU_InitStruct.BaseAddress = 0x0;
  MPU_InitStruct.Size = MPU_REGION_SIZE_4GB;
  MPU_InitStruct.SubRegionDisable = 0x87;
  MPU_InitStruct.TypeExtField = MPU_TEX_LEVEL0;
  MPU_InitStruct.AccessPermission = MPU_REGION_NO_ACCESS;
  MPU_InitStruct.DisableExec = MPU_INSTRUCTION_ACCESS_DISABLE;
  MPU_InitStruct.IsShareable = MPU_ACCESS_SHAREABLE;
  MPU_InitStruct.IsCacheable = MPU_ACCESS_NOT_CACHEABLE;
  MPU_InitStruct.IsBufferable = MPU_ACCESS_NOT_BUFFERABLE;

  HAL_MPU_ConfigRegion(&MPU_InitStruct);
  /* Enables the MPU */
  HAL_MPU_Enable(MPU_PRIVILEGED_DEFAULT);

}

void HAL_TIM_PeriodElapsedCallback(TIM_HandleTypeDef *htim)
{
  if (htim->Instance == TIM1)
  {
    HAL_IncTick();
  }
}

void Error_Handler(void)
{
  __disable_irq();
  while (1)
  {
  }
}
